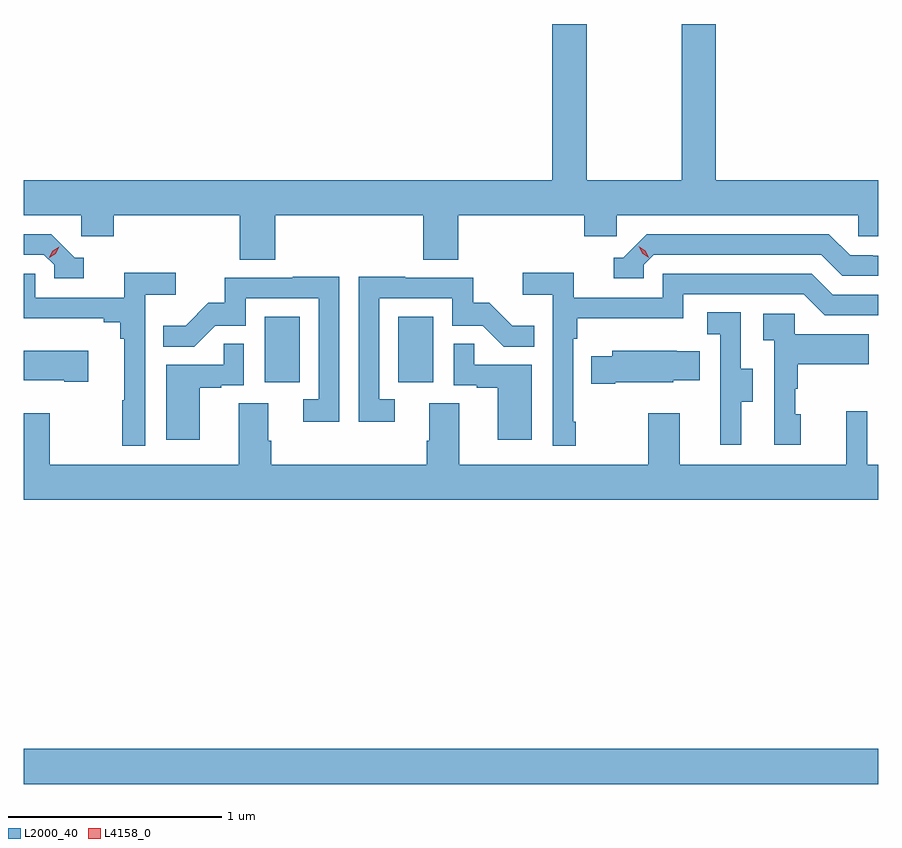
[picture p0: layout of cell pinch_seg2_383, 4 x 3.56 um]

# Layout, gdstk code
import gdstk
lib = gdstk.Library(unit=1e-6, precision=1e-09)
def R(c, l, rs):  # rectangles x0, y0, x1, y1
    for r in rs: c.add(gdstk.rectangle(r[:2], r[2:], *l))
def P(c, l, *ps):  # polygons
    for p in ps: c.add(gdstk.Polygon(p, *l))
L2000_40 = (2000, 40)
L4158_0 = (4158, 0)

pinch_seg2_383 = lib.new_cell('pinch_seg2_383')
R(pinch_seg2_383, L2000_40, [(951.89,602.348,955.89,602.512), (953.018,604.23,953.182,604.537), (953.642,604.23,953.806,604.537)])
P(pinch_seg2_383, L2000_40, [(953.066,605.012),(953.759,605.012),(953.759,604.804),(953.924,604.804),(953.924,605.012),(954.515,605.012),(954.515,604.914),(954.666,604.914),(954.666,605.012),(955.797,605.012),(955.797,604.914),(955.89,604.914),(955.89,605.176),(955.13,605.176),(955.13,605.907),(954.97,605.907),(954.97,605.176),(954.525,605.176),(954.525,605.907),(954.365,605.907),(954.365,605.176),(951.89,605.176),(951.89,605.012),(952.158,605.012),(952.158,604.914),(952.31,604.914),(952.31,605.012),(952.901,605.012),(952.901,604.804),(953.066,604.804)],
  [(954.792,604.779),(954.84,604.827),(955.623,604.827),(955.722,604.728),(955.89,604.728),(955.89,604.821),(955.866,604.821),(955.866,604.824),(955.759,604.824),(955.66,604.923),(954.807,604.923),(954.696,604.812),(954.653,604.812),(954.653,604.716),(954.792,604.716)],
  [(952.171,604.812),(952.128,604.812),(952.017,604.923),(951.89,604.923),(951.89,604.827),(951.984,604.827),(952.032,604.779),(952.032,604.716),(952.171,604.716)],
  [(954.475,604.045),(954.462,604.045),(954.462,604.433),(954.482,604.433),(954.482,604.529),(954.978,604.529),(954.978,604.641),(955.542,604.641),(955.641,604.542),(955.89,604.542),(955.89,604.638),(955.678,604.638),(955.579,604.737),(954.882,604.737),(954.882,604.626),(954.464,604.626),(954.464,604.742),(954.225,604.742),(954.225,604.64),(954.366,604.64),(954.366,603.933),(954.475,603.933)],
  [(952.458,604.64),(952.6,604.64),(952.6,604.742),(952.361,604.742),(952.361,604.626),(951.942,604.626),(951.942,604.737),(951.89,604.737),(951.89,604.529),(952.265,604.529),(952.265,604.51),(952.342,604.51),(952.342,604.433),(952.361,604.433),(952.361,604.145),(952.35,604.145),(952.35,603.933),(952.458,603.933)],
  [(953.626,604.149),(953.553,604.149),(953.553,604.623),(953.895,604.623),(953.895,604.494),(954.039,604.494),(954.137,604.396),(954.281,604.396),(954.281,604.495),(954.177,604.495),(954.07,604.602),(953.994,604.602),(953.994,604.719),(953.675,604.719),(953.675,604.724),(953.457,604.724),(953.457,604.044),(953.626,604.044)],
  [(953.367,604.724),(953.149,604.724),(953.149,604.719),(952.831,604.719),(952.831,604.602),(952.754,604.602),(952.647,604.495),(952.543,604.495),(952.543,604.396),(952.687,604.396),(952.785,604.494),(952.929,604.494),(952.929,604.623),(953.271,604.623),(953.271,604.149),(953.199,604.149),(953.199,604.044),(953.367,604.044)],
  [(955.249,604.138),(955.303,604.138),(955.303,604.293),(955.248,604.293),(955.248,604.556),(955.089,604.556),(955.089,604.453),(955.152,604.453),(955.152,604.149),(955.151,604.149),(955.151,603.936),(955.249,603.936)],
  [(955.528,604.08),(955.503,604.08),(955.503,604.199),(955.513,604.199),(955.513,604.313),(955.847,604.313),(955.847,604.453),(955.5,604.453),(955.5,604.551),(955.353,604.551),(955.353,604.427),(955.404,604.427),(955.404,603.936),(955.528,603.936)],
  [(952.714,604.203),(952.814,604.203),(952.814,604.215),(952.92,604.215),(952.92,604.409),(952.825,604.409),(952.825,604.311),(952.556,604.311),(952.556,603.96),(952.714,603.96)],
  [(954.268,604.311),(953.999,604.311),(953.999,604.409),(953.904,604.409),(953.904,604.215),(954.011,604.215),(954.011,604.203),(954.11,604.203),(954.11,603.96),(954.268,603.96)],
  [(952.192,604.378),(951.89,604.378),(951.89,604.238),(952.079,604.238),(952.079,604.231),(952.192,604.231)],
  [(954.658,604.229),(954.93,604.229),(954.93,604.238),(955.055,604.238),(955.055,604.375),(954.947,604.375),(954.947,604.378),(954.645,604.378),(954.645,604.351),(954.547,604.351),(954.547,604.222),(954.658,604.222)],
  [(955.89,603.844),(955.839,603.844),(955.839,604.093),(955.742,604.093),(955.742,603.844),(954.961,603.844),(954.961,604.084),(954.814,604.084),(954.814,603.844),(953.929,603.844),(953.929,604.13),(953.789,604.13),(953.789,603.956),(953.777,603.956),(953.777,603.844),(953.048,603.844),(953.048,603.956),(953.035,603.956),(953.035,604.13),(952.895,604.13),(952.895,603.844),(952.011,603.844),(952.011,604.084),(951.89,604.084),(951.89,603.68),(955.89,603.68)])
P(pinch_seg2_383, L4158_0, [(954.817,604.813),(954.786,604.833),(954.769,604.866),(954.769,604.866),(954.769,604.866),(954.8,604.846),(954.817,604.814),(954.817,604.813)],
  [(952.008,604.813),(952.008,604.814),(952.024,604.846),(952.055,604.865),(952.055,604.865),(952.055,604.865),(952.039,604.832),(952.008,604.813)])

lib.write_gds('pinch_seg2_383.gds')
